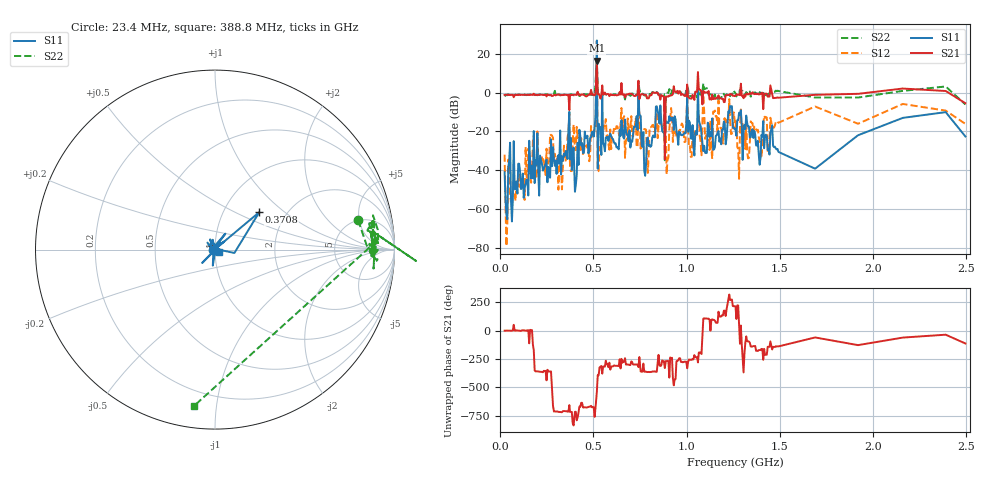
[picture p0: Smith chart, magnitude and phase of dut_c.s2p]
# Hz S DB R 50.000000
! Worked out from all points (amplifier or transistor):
!   306 points, 23.4 MHz to 2.496 GHz, reference 50 ohm
!   highest |S21| = 16.5 dB at 518.4 MHz (marker M1)
!   |S21| within 3 dB of that: 517.1681 MHz to 519.2333 MHz (2.065 MHz wide, 0.399 % of centre)
!   unconditionally stable (mu >= 1): start of sweep to 290.1 MHz; 295.3 MHz to 409 MHz; 420 MHz to 483.8 MHz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
!   at 272.4 MHz: K = 1.66, MAG = 5.7 dB, |S12| = -21.9 dB
!   at 772.8 MHz: K = 1.37, MAG = 5.3 dB, |S12| = -18.8 dB
!   at 2.496 GHz: K = 4.50, MAG = -4.1 dB, |S12| = -16.1 dB
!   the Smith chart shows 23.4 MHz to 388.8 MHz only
!   S11 on the Smith chart (normalised r, x): 23.4 MHz: 0.98, -0.00; 370.8 MHz: 1.47, +0.68; 388.8 MHz: 1.04, -0.03
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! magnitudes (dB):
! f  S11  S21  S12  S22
! 23.4 MHz  -41.0  -1.1  -31.9  -1.8
! 33.3 MHz  -63.3  -1.0  -79.2  -1.1
! 43 MHz  -38.8  -1.1  -34.6  -0.8
! 331.2 MHz  -32.8  -1.2  -49.9  -1.1
! 370.8 MHz  -9.8  -9.0  -11.0  -1.1
! 388.8 MHz  -31.5  -1.1  -26.4  -1.1
! 439.2 MHz  -26.0  -0.9  -31.1  -1.3
! 511.2 MHz  -12.0  -1.0  -17.7  5.1
! 518.4 MHz  27.0  16.5  26.8  17.3
! 523.2 MHz  -39.2  -0.7  -40.6  -0.7
! 547.2 MHz  -0.6  3.8  -20.6  -1.5
! 561.6 MHz  -30.2  0.1  -17.5  -0.6
! 741.6 MHz  1.1  6.2  -5.3  6.1
! 777.6 MHz  -42.9  -1.1  -18.8  -1.4
! 849.6 MHz  -11.6  -1.0  -17.0  -1.2
! 878.4 MHz  -20.6  -1.9  -17.0  -0.7
! 883.2 MHz  -23.2  -34.3  -14.2  -34.9
! 907.2 MHz  -12.1  -1.4  -18.8  1.9
! 1.262 GHz  -19.3  -1.6  -17.6  -0.3
! 1.69 GHz  -39.2  -1.1  -7.1  -2.5
! 2.16 GHz  -13.0  2.2  -5.8  1.0
! 2.496 GHz  -22.6  -5.4  -16.1  -6.0
